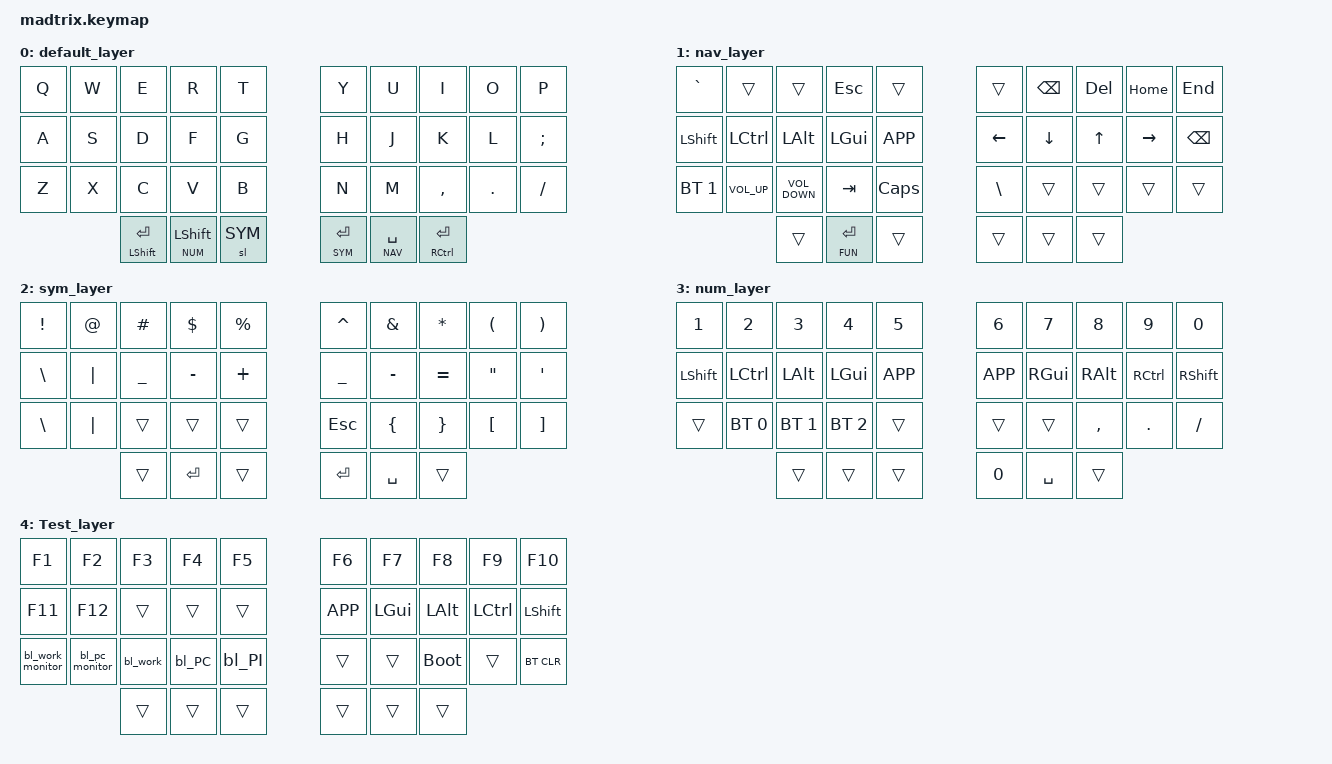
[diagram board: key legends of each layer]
/*
 * Copyright (c) 2020 The ZMK Contributors
 ***
 * SPDX-License-Identifier: MIT
 */
#include <behaviors.dtsi>
#include <dt-bindings/zmk/keys.h>
#include <dt-bindings/zmk/bt.h>
#include <dt-bindings/zmk/ext_power.h>
#include "includes/settings.dtsi"
#include "includes/behaviours_homerow_mods.dtsi"
/ {
    macros {
        bl_work_monitor: bl_work_monitor {
            label = "ZM_bl_work_monitor";
            compatible = "zmk,behavior-macro";
            #binding-cells = <0>;
            bindings
                = <&bt BT_SEL 2>
                , <&kp F4>
                , <&bt BT_SEL 0>
                ;
        };
    };
};
/ {
    macros {
        bl_pc_monitor: bl_pc_monitor {
            label = "ZM_bl_pc_monitor";
            compatible = "zmk,behavior-macro";
            #binding-cells = <0>;
            bindings
                = <&bt BT_SEL 2>
                , <&kp F3>
                , <&bt BT_SEL 1>
                ;
        };
    };
};
/ {
    macros {
        bl_work: bl_work {
            label = "ZM_bl_work";
            compatible = "zmk,behavior-macro";
            #binding-cells = <0>;
            bindings
                = <&bt BT_SEL 2>
                , <&kp F2>
                , <&bt BT_SEL 0>
                ;
        };
    };
};
/ {
    macros {
        bl_PC: bl_PC {
            label = "ZM_bl_PC";
            compatible = "zmk,behavior-macro";
            #binding-cells = <0>;
            bindings
                = <&bt BT_SEL 2>
                , <&kp F1>
                , <&bt BT_SEL 1>
                ;
        };
    };
};
/ {
    macros {
        bl_PI: bl_PI {
            label = "ZM_bl_PI";
            compatible = "zmk,behavior-macro";
            #binding-cells = <0>;
            bindings
                = <&bt BT_SEL 2>
                , <&kp F5 >
                ;
        };
    };
};
&sk {
    release-after-ms = <2000>;
    quick-release;
    /delete-property/ ignore-modifiers;
};
/{
behaviors {
        sc: shif_control {
            compatible = "zmk,behavior-hold-tap";
            label = "Shif_Control";
            #binding-cells = <2>;
            tapping_term_ms = <230>;
            flavor = "tap-preferred";
            bindings = <&mo>, <&sk>;
        };
    };
};

#define NAV 1
#define SYM 2
#define NUM 3
#define FUN 4
&lt {
    flavor = "balanced";
    tapping-term-ms = <165>;
    quick-tap-ms = <125>;
    //global-quick-tap;
    retro-tap;
};

/{
        keymap {
                compatible = "zmk,keymap";
                default_layer {
//---------------------------------------------------------------------------------------
// |  Q  |  W  |  E  |  R  |  T   |   |  Y  |  U   |  I  |  O  |  P  |
// |  A  |  S  |  D  |  F  |  G   |   |  H  |  J   |  K  |  L  |  ;  |
// |  Z  |  X  |  C  |  V  |  B   |   |  N  |  M   |  ,  |  .  |  /  |
//             | GUI | NAV | SHFT |   | SPC | SYM  | ALT |
                        bindings = <
   &kp Q &kp W &kp E &kp R &kp T   &kp Y &kp U  &kp I &kp O &kp P
   &kp A &kp S &kp D &kp F  &kp G   &kp H &kp J &kp K &kp L &kp SEMI  
   &kp Z &kp X &kp C &kp V &kp B   &kp N &kp M  &kp COMMA &kp DOT &kp FSLH
         &mt LSHIFT RET  &sc NUM LSHIFT &sl SYM &lt SYM RET &lt NAV SPACE &mt RCTRL RET
                        >;
                };
                nav_layer {
// -----------------------------------------------------------------------------------------
// |BTCLR|     | ESC |  ~   |     |   | TAB | BSPC |  DEL | HOME | END  |
// | BT1 | GUI | ALT | CTRL | NUM |   |LEFT | DOWN |  UP  | RIGHT| 
// | BT2 |     |     |      |     |   |  \  | ENT  |      |     |      |
//             |     |      |     |   |     |      |      |
                        bindings = <
   &kp GRAVE    &trans      &trans   &kp ESC &trans    &trans  &kp BSPC &kp DEL   &kp HOME   &kp END
   &kp LSHFT    &kp LCTRL   &kp LALT &kp LGUI  &kp K_APP  &kp LEFT &kp DOWN &kp UP &kp RIGHT &kp BSPC
   &bt BT_SEL 1 &kp C_VOLUME_UP &kp C_VOLUME_DOWN &kp TAB   &kp CAPSLOCK     &kp BSLH &trans  &trans   &trans    &trans
                            &trans    &lt FUN RET   &trans      &trans   &trans   &trans
                        >;
                };
                sym_layer {
// -----------------------------------------------------------------------------------------
// |  !  |  @  |  #  |  $  |  %  |   |  ^  |  &  |  *  |  (  |  )  |
// |     |     |     |     |     |   |  -  |  =  |  {  |  }  | "|" |
// |     |     |     |     |     |   |  _  |  +  |  [  |  ]  |  \  |
//             | GUI |     | SPC |   | ENT |     | ALT |
                        bindings = <
   &kp EXCL  &kp AT    &kp HASH  &kp DLLR  &kp PRCNT   &kp CARET &kp AMPS  &kp ASTERISK &kp LPAR &kp RPAR
   &kp BSLH  &kp PIPE  &kp UNDER &kp MINUS &kp PLUS    &kp UNDER &kp MINUS &kp EQUAL       &kp DQT  &kp SQT
   &kp BSLH  &kp PIPE  &trans    &trans    &trans      &kp ESC   &kp LBRC  &kp RBRC        &kp LBKT &kp RBKT
                       &trans &kp ENTER &trans   &kp RET   &kp SPACE    &trans
                        >;
                };
// This layer is unreachable until "tri layer state" is sorted out.
// Leaving it here for completeness.
                num_layer {
// -----------------------------------------------------------------------------------------
// |     |     |     |     |     |   |  A  |  7  |  8  |  9  |  D  |
// |     |     |     |     |     |   |  B  |  4  |  5  |  6  |  E  |
// |     |     |     |     |     |   |  C  |  1  |  2  |  3  |  F  |
//             |     |     |     |   |  0  |  .  |     |
                        bindings = <
   &kp N1           &kp N2           &kp N3       &kp N4        &kp N5    &kp N6    &kp N7   &kp N8    &kp N9    &kp N0
   &kp LSHFT        &kp LCTRL        &kp LALT     &kp LGUI      &kp K_APP &kp K_APP &kp RGUI &kp RALT  &kp RCTRL &kp RSHFT
   &trans           &bt BT_SEL 0     &bt BT_SEL 1 &bt BT_SEL 2  &trans    &trans    &trans   &kp COMMA &kp DOT   &kp FSLH
                    &trans            &trans       &trans        &kp N0    &kp SPACE   &trans
                        >;
                };
                        Test_layer {
// -----------------------------------------------------------------------------------------
// |     |     |     |     |     |   |  A  |  7  |  8  |  9  |  D  |
// |     |     |     |     |     |   |  B  |  4  |  5  |  6  |  E  |
// |     |     |     |     |     |   |  C  |  1  |  2  |  3  |  F  |
//             |     |     |     |   |  0  |  .  |     |
                        bindings = <
   &kp F1           &kp F2          &kp F3      &kp F4  &kp F5 &kp F6    &kp F7   &kp F8      &kp F9    &kp F10
   &kp F11          &kp F12         &trans      &trans  &trans &kp K_APP &kp LGUI &kp LALT    &kp LCTRL &kp LSHFT 
   &bl_work_monitor &bl_pc_monitor  &bl_work    &bl_PC  &bl_PI &trans    &trans   &bootloader &trans    &bt BT_CLR 
                                    &trans       &trans  &trans &trans    &trans  &trans
                        >;
                };
                
        };
};
